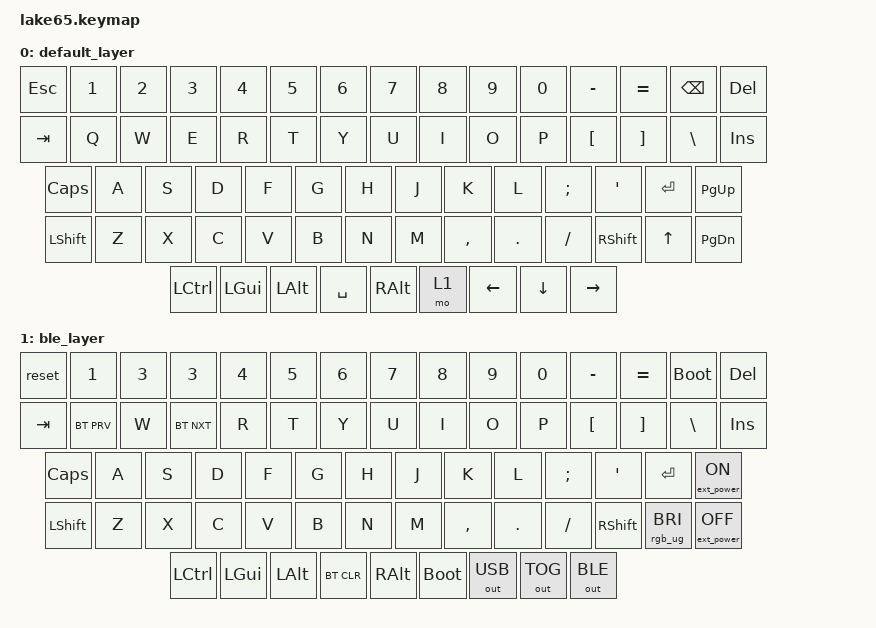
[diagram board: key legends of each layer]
/*
 * Copyright (c) 2021 Nick Winanschosen
 *
 * SPDX-License-Identifier: MIT
 */

#include <behaviors.dtsi>
#include <dt-bindings/zmk/keys.h>
#include <dt-bindings/zmk/rgb.h>
#include <dt-bindings/zmk/bt.h>
#include <dt-bindings/zmk/outputs.h>
#include <dt-bindings/zmk/ext_power.h>
/ {
    backlight: pwmleds {
        compatible = "pwm-leds";
        label = "Backlight LEDs";
        pwm_led_0 {
            pwms = <&pwm0 26>;
            label = "Backlight LED 0";
        };
    };
};

/ {
	keymap {
		compatible = "zmk,keymap";
		
		 default_layer {
             bindings = <
	&kp ESC &kp N1 &kp N2 &kp N3 &kp N4 &kp N5 &kp N6 &kp N7 &kp N8 &kp N9 &kp N0 &kp MINUS &kp EQUAL  &kp BSPC   &kp DEL
	&kp TAB  &kp Q  &kp W  &kp E  &kp R  &kp T  &kp Y  &kp U  &kp I  &kp O  &kp P  &kp LBKT  &kp RBKT  &kp BSLH      &kp INS
	&kp CLCK  &kp A  &kp S  &kp D  &kp F  &kp G  &kp H  &kp J  &kp K  &kp L  &kp SEMI &kp SQT &kp RET                &kp PG_UP
	&kp LSHFT   &kp Z  &kp X  &kp C  &kp V  &kp B  &kp N  &kp M  &kp COMMA &kp DOT &kp FSLH   &kp RSHFT       &kp UP &kp PG_DN
	&kp LCTRL &kp LGUI &kp LALT             &kp SPACE                     &kp RALT    &mo 1          &kp LEFT &kp DOWN &kp RIGHT
			>;
		

            
		};

		ble_layer {

			bindings = <
	&reset  &kp N1 &kp N3 &kp N3 &kp N4 &kp N5 &kp N6 &kp N7 &kp N8 &kp N9 &kp N0 &kp MINUS &kp EQUAL  &bootloader             &kp DEL
	&kp TAB  &bt BT_PRV  &kp W  &bt BT_NXT  &kp R  &kp T  &kp Y  &kp U  &kp I  &kp O  &kp P  &kp LBKT  &kp RBKT  &kp BSLH             &kp INS
	&kp CLCK  &kp A  &kp S  &kp D  &kp F  &kp G  &kp H  &kp J  &kp K  &kp L  &kp SEMI &kp SQT &kp RET                       &ext_power EP_ON
	&kp LSHFT   &kp Z  &kp X  &kp C  &kp V  &kp B  &kp N  &kp M  &kp COMMA &kp DOT &kp FSLH   &kp RSHFT              &rgb_ug RGB_BRI &ext_power EP_OFF
	&kp LCTRL &kp LGUI &kp LALT            &bt BT_CLR                    &kp RALT    &bootloader          &out OUT_USB &out OUT_TOG &out OUT_BLE
	>;
		};
	};
};

